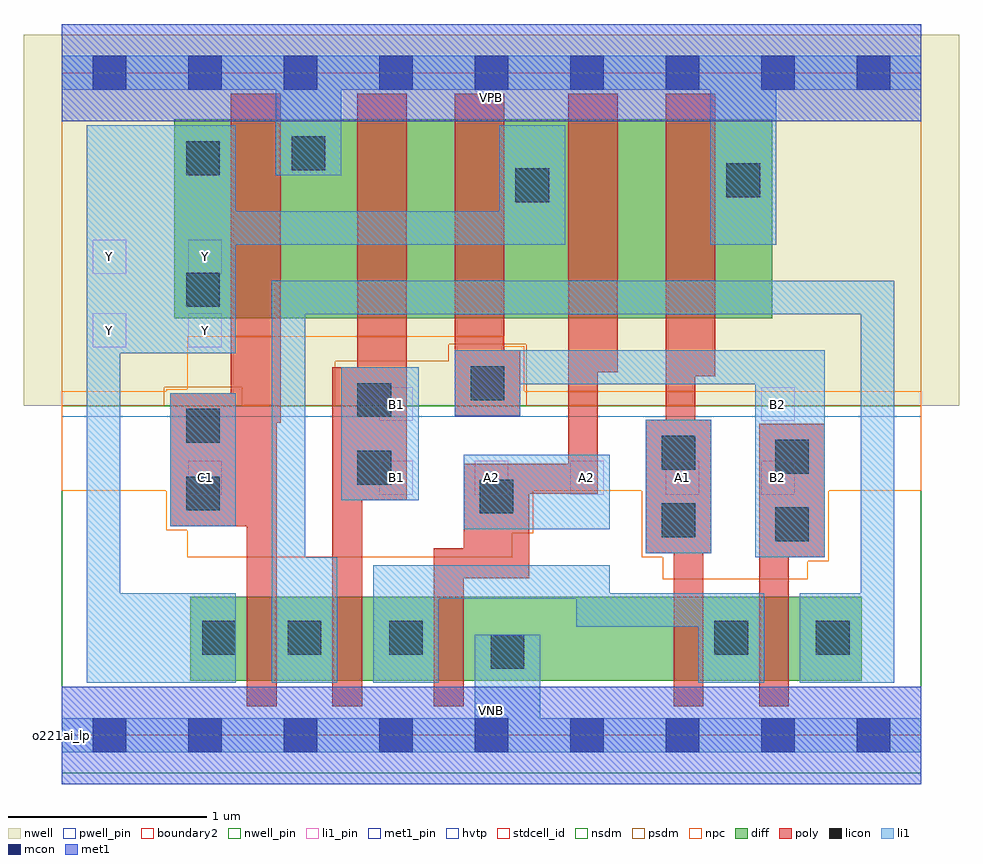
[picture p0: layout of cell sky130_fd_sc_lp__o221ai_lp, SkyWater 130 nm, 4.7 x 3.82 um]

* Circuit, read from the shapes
.subckt sky130_fd_sc_lp__o221ai_lp A1 A2 B1 B2 C1 VGND VNB VPB VPWR Y
XM1 n1 C1 Y VNB sky130_fd_pr__nfet_01v8 w=0.42 l=0.15
XM2 n2 B1 n1 VNB sky130_fd_pr__nfet_01v8 w=0.42 l=0.15
XM3 VGND A2 n2 VNB sky130_fd_pr__nfet_01v8 w=0.42 l=0.15
XM4 n2 A1 VGND VNB sky130_fd_pr__nfet_01v8 w=0.42 l=0.15
XM5 n1 B2 n2 VNB sky130_fd_pr__nfet_01v8 w=0.42 l=0.15
XM6 VPWR C1 Y VPB sky130_fd_pr__pfet_01v8_hvt w=1 l=0.25
XM7 n3 B1 VPWR VPB sky130_fd_pr__pfet_01v8_hvt w=1 l=0.25
XM8 Y B2 n3 VPB sky130_fd_pr__pfet_01v8_hvt w=1 l=0.25
XM9 n4 A2 Y VPB sky130_fd_pr__pfet_01v8_hvt w=1 l=0.25
XM10 VPWR A1 n4 VPB sky130_fd_pr__pfet_01v8_hvt w=1 l=0.25
.ends

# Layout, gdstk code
import gdstk
lib = gdstk.Library(unit=1e-6, precision=1e-09)
def R(c, l, rs):  # rectangles x0, y0, x1, y1
    for r in rs: c.add(gdstk.rectangle(r[:2], r[2:], *l))
def A(c, l, x, y, w, h, nx, ny, dx, dy):  # array of equal rectangles
    R(c, l, [(x+i*dx, y+j*dy, x+i*dx+w, y+j*dy+h) for i in range(nx) for j in range(ny)])
def P(c, l, *ps):  # polygons
    for p in ps: c.add(gdstk.Polygon(p, *l))
nwell_pin = (64, 16)
nwell = (64, 20)
diff = (65, 20)
poly = (66, 20)
licon = (66, 44)
li1_pin = (67, 16)
li1 = (67, 20)
mcon = (67, 44)
met1_pin = (68, 16)
met1 = (68, 20)
hvtp = (78, 44)
stdcell_id = (81, 4)
nsdm = (93, 44)
psdm = (94, 20)
npc = (95, 20)
pwell_pin = (122, 16)
boundary2 = (236, 0)

sky130_fd_sc_lp__o221ai_ = lib.new_cell('sky130_fd_sc_lp__o221ai_lp')
R(sky130_fd_sc_lp__o221ai_, nwell_pin, [(0,3.085,4.32,3.33)])
R(sky130_fd_sc_lp__o221ai_, nwell, [(-0.19,1.655,4.51,3.52)])
R(sky130_fd_sc_lp__o221ai_, diff, [(0.645,0.275,4.02,0.695), (0.565,2.095,3.57,3.095)])
P(sky130_fd_sc_lp__o221ai_, poly, [(1.1,3.225),(0.85,3.225),(0.85,1.72),(0.545,1.72),(0.545,1.05),(0.93,1.05),(0.93,0.145),(1.08,0.145),(1.08,1.57),(1.1,1.57)],
  [(1.735,3.225),(1.485,3.225),(1.485,1.85),(1.36,1.85),(1.36,0.145),(1.51,0.145),(1.51,1.18),(1.735,1.18)],
  [(2.305,1.935),(2.225,1.935),(2.225,3.225),(1.975,3.225),(1.975,1.605),(2.305,1.605)],
  [(2.795,3.225),(2.545,3.225),(2.545,1.365),(2.02,1.365),(2.02,0.94),(1.87,0.94),(1.87,0.145),(2.02,0.145),(2.02,0.79),(2.35,0.79),(2.35,1.215),(2.695,1.215),(2.695,1.825),(2.795,1.825)],
  [(3.285,3.225),(3.035,3.225),(3.035,1.585),(2.935,1.585),(2.935,0.915),(3.075,0.915),(3.075,0.145),(3.225,0.145),(3.225,0.915),(3.265,0.915),(3.265,1.585),(3.185,1.585),(3.185,1.805),(3.285,1.805)],
  [(3.835,1.565),(3.505,1.565),(3.505,0.145),(3.655,0.145),(3.655,0.895),(3.835,0.895)])
R(sky130_fd_sc_lp__o221ai_, licon, [(2.155,0.335,2.325,0.505), (0.705,0.405,0.875,0.575), (1.135,0.405,1.305,0.575), (1.645,0.405,1.815,0.575), (3.28,0.405,3.45,0.575), (3.79,0.405,3.96,0.575), (3.585,0.975,3.755,1.145), (3.015,0.995,3.185,1.165), (2.1,1.115,2.27,1.285), (0.625,1.13,0.795,1.3), (1.485,1.26,1.655,1.43), (3.585,1.315,3.755,1.485), (3.015,1.335,3.185,1.505), (0.625,1.47,0.795,1.64), (1.485,1.6,1.655,1.77), (2.055,1.685,2.225,1.855), (0.625,2.155,0.795,2.325), (2.28,2.68,2.45,2.85), (3.34,2.705,3.51,2.875), (0.625,2.815,0.795,2.985), (1.155,2.84,1.325,3.01)])
A(sky130_fd_sc_lp__o221ai_, li1_pin, 1.595, 1.21, 0.17, 0.17, 5, 1, 0.48, 0)
R(sky130_fd_sc_lp__o221ai_, li1_pin, [(0.635,1.21,0.805,1.38), (1.595,1.58,1.765,1.75), (3.515,1.58,3.685,1.75), (0.155,1.95,0.325,2.12), (0.635,1.95,0.805,2.12), (0.155,2.32,0.325,2.49), (0.635,2.32,0.805,2.49)])
R(sky130_fd_sc_lp__o221ai_, li1, [(2.935,0.915,3.265,1.585), (2.02,1.035,2.755,1.41), (0.545,1.05,0.875,1.72), (1.405,1.18,1.795,1.85)])
P(sky130_fd_sc_lp__o221ai_, li1, [(3.26,2.465),(3.26,3.245),(1.405,3.245),(1.405,2.815),(1.075,2.815),(1.075,3.245),(0,3.245),(0,3.415),(4.32,3.415),(4.32,3.245),(3.59,3.245),(3.59,2.465)],
  [(2.075,0.085),(2.075,0.505),(2.405,0.505),(2.405,0.085),(4.32,0.085),(4.32,-0.085),(0,-0.085),(0,0.085)],
  [(0.125,3.065),(0.875,3.065),(0.875,2.635),(2.2,2.635),(2.2,3.065),(2.53,3.065),(2.53,2.465),(0.875,2.465),(0.875,1.92),(0.295,1.92),(0.295,0.715),(0.875,0.715),(0.875,0.265),(0.125,0.265)],
  [(1.055,0.265),(1.055,2.285),(4.185,2.285),(4.185,0.265),(3.71,0.265),(3.71,0.715),(4.015,0.715),(4.015,2.115),(1.225,2.115),(1.225,0.895),(1.385,0.895),(1.385,0.265)],
  [(1.565,0.265),(1.565,0.855),(2.755,0.855),(2.755,0.715),(3.53,0.715),(3.53,0.265),(3.2,0.265),(3.2,0.545),(2.585,0.545),(2.585,0.685),(1.895,0.685),(1.895,0.265)],
  [(3.485,0.895),(3.485,1.765),(2.305,1.765),(2.305,1.605),(1.975,1.605),(1.975,1.935),(3.835,1.935),(3.835,0.895)])
A(sky130_fd_sc_lp__o221ai_, mcon, 0.155, -0.085, 0.17, 0.17, 9, 2, 0.48, 3.33)
R(sky130_fd_sc_lp__o221ai_, met1_pin, [(0,0,4.32,0.245), (0,3.085,4.32,3.33)])
R(sky130_fd_sc_lp__o221ai_, met1, [(0,-0.245,4.32,0.245), (0,3.085,4.32,3.575)])
R(sky130_fd_sc_lp__o221ai_, hvtp, [(0,1.6,4.32,3.33)])
R(sky130_fd_sc_lp__o221ai_, stdcell_id, [(0,0,4.32,3.33)])
R(sky130_fd_sc_lp__o221ai_, nsdm, [(0,-0.19,4.32,1.655)])
P(sky130_fd_sc_lp__o221ai_, psdm, [(4.32,3.52),(0,3.52),(0,1.655),(0.515,1.655),(0.515,1.75),(0.905,1.75),(0.905,1.655),(1.375,1.655),(1.375,1.88),(1.945,1.88),(1.945,1.965),(2.335,1.965),(2.335,1.655),(4.32,1.655)])
P(sky130_fd_sc_lp__o221ai_, npc, [(4.32,1.73),(2.325,1.73),(2.325,1.955),(2.22,1.955),(2.22,2.005),(0.63,2.005),(0.63,1.74),(0.525,1.74),(0.525,1.73),(0,1.73),(0,1.23),(0.525,1.23),(0.525,1.03),(0.63,1.03),(0.63,0.895),(2.265,0.895),(2.265,1.015),(2.37,1.015),(2.37,1.23),(2.915,1.23),(2.915,0.895),(3.02,0.895),(3.02,0.785),(3.75,0.785),(3.75,0.875),(3.855,0.875),(3.855,1.23),(4.32,1.23)])
R(sky130_fd_sc_lp__o221ai_, pwell_pin, [(0,0,4.32,0.245)])
R(sky130_fd_sc_lp__o221ai_, boundary2, [(0,0,4.32,3.33)])
sky130_fd_sc_lp__o221ai_.add(gdstk.Label('VNB', (2.16,0.123), layer=64, texttype=59))
sky130_fd_sc_lp__o221ai_.add(gdstk.Label('VPB', (2.16,3.208), layer=64, texttype=5))
sky130_fd_sc_lp__o221ai_.add(gdstk.Label('o221ai_lp', (0,0), layer=83, texttype=44))
sky130_fd_sc_lp__o221ai_.add(gdstk.Label('VPWR', (2.16,3.208), layer=68, texttype=5))
sky130_fd_sc_lp__o221ai_.add(gdstk.Label('VGND', (2.16,0.123), layer=68, texttype=5))
sky130_fd_sc_lp__o221ai_.add(gdstk.Label('Y', (0.24,2.035), layer=67, texttype=5))
sky130_fd_sc_lp__o221ai_.add(gdstk.Label('Y', (0.24,2.405), layer=67, texttype=5))
sky130_fd_sc_lp__o221ai_.add(gdstk.Label('Y', (0.72,2.035), layer=67, texttype=5))
sky130_fd_sc_lp__o221ai_.add(gdstk.Label('Y', (0.72,2.405), layer=67, texttype=5))
sky130_fd_sc_lp__o221ai_.add(gdstk.Label('B1', (1.68,1.295), layer=67, texttype=5))
sky130_fd_sc_lp__o221ai_.add(gdstk.Label('B1', (1.68,1.665), layer=67, texttype=5))
sky130_fd_sc_lp__o221ai_.add(gdstk.Label('A2', (2.16,1.295), layer=67, texttype=5))
sky130_fd_sc_lp__o221ai_.add(gdstk.Label('A2', (2.64,1.295), layer=67, texttype=5))
sky130_fd_sc_lp__o221ai_.add(gdstk.Label('A1', (3.12,1.295), layer=67, texttype=5))
sky130_fd_sc_lp__o221ai_.add(gdstk.Label('C1', (0.72,1.295), layer=67, texttype=5))
sky130_fd_sc_lp__o221ai_.add(gdstk.Label('B2', (3.6,1.295), layer=67, texttype=5))
sky130_fd_sc_lp__o221ai_.add(gdstk.Label('B2', (3.6,1.665), layer=67, texttype=5))

lib.write_gds('sky130_fd_sc_lp__o221ai_lp.gds')
